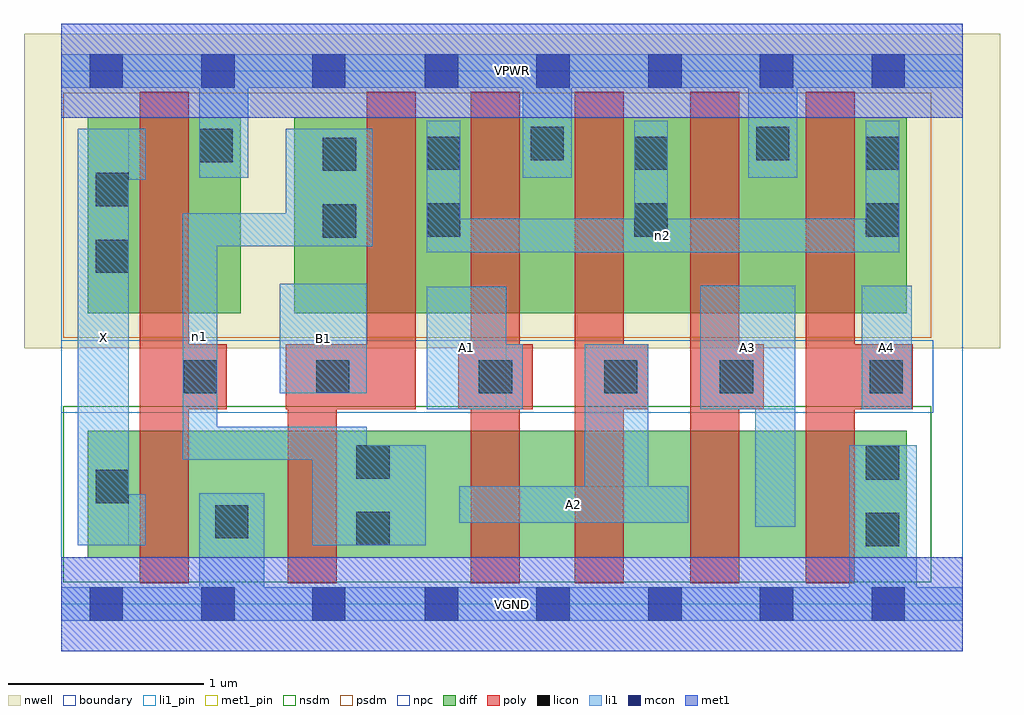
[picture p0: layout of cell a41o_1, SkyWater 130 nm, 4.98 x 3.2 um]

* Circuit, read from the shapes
.subckt a41o_1 A1 A2 A3 A4 B1 VGND VPWR X n1 n2
XM1 VGND n1 X VSUBS sky130_fd_pr__nfet_01v8 w=0.65 l=0.25
XM2 n1 B1 VGND VSUBS sky130_fd_pr__nfet_01v8 w=0.65 l=0.25
XM3 n3 A1 n1 VSUBS sky130_fd_pr__nfet_01v8 w=0.65 l=0.25
XM4 n4 A2 n3 VSUBS sky130_fd_pr__nfet_01v8 w=0.65 l=0.25
XM5 n5 A3 n4 VSUBS sky130_fd_pr__nfet_01v8 w=0.65 l=0.25
XM6 VGND A4 n5 VSUBS sky130_fd_pr__nfet_01v8 w=0.65 l=0.25
XM7 VPWR n1 X n6 sky130_fd_pr__pfet_01v8 w=1 l=0.25
XM8 n2 B1 n1 n6 sky130_fd_pr__pfet_01v8 w=1 l=0.25
XM9 VPWR A1 n2 n6 sky130_fd_pr__pfet_01v8 w=1 l=0.25
XM10 n2 A2 VPWR n6 sky130_fd_pr__pfet_01v8 w=1 l=0.25
XM11 VPWR A3 n2 n6 sky130_fd_pr__pfet_01v8 w=1 l=0.25
XM12 n2 A4 VPWR n6 sky130_fd_pr__pfet_01v8 w=1 l=0.25
.ends

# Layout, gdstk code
import gdstk
lib = gdstk.Library(unit=1e-6, precision=1e-09)
def R(c, l, rs):  # rectangles x0, y0, x1, y1
    for r in rs: c.add(gdstk.rectangle(r[:2], r[2:], *l))
def A(c, l, x, y, w, h, nx, ny, dx, dy):  # array of equal rectangles
    R(c, l, [(x+i*dx, y+j*dy, x+i*dx+w, y+j*dy+h) for i in range(nx) for j in range(ny)])
nwell = (64, 20)
diff = (65, 20)
poly = (66, 20)
licon = (66, 44)
li1_pin = (67, 16)
li1 = (67, 20)
mcon = (67, 44)
met1_pin = (68, 16)
met1 = (68, 20)
nsdm = (93, 44)
psdm = (94, 20)
npc = (95, 20)
boundary = (235, 4)

a41o_1 = lib.new_cell('a41o_1')
R(a41o_1, nwell, [(-0.19,1.305,4.79,2.91), (0,1.305,4.6,2.91)])
R(a41o_1, diff, [(0.135,0.235,4.315,0.885), (0.135,1.485,0.915,2.485), (1.19,1.485,4.315,2.485)])
A(a41o_1, poly, 2.62, 0.105, 0.25, 2.51, 3, 1, 0.59, 0)
R(a41o_1, poly, [(0.4,0.105,0.65,2.615), (1.155,0.105,1.405,1.325), (2.09,0.105,2.34,2.615), (0.4,0.995,0.845,1.325), (1.145,0.995,1.81,1.325), (1.56,0.995,1.81,2.615), (2.025,0.995,2.405,1.325), (2.62,0.995,2.995,1.325), (3.21,0.995,3.585,1.325), (3.8,0.995,4.345,1.325)])
R(a41o_1, licon, [(4.105,0.295,4.275,0.465), (1.505,0.3,1.675,0.47), (0.785,0.335,0.955,0.505), (0.175,0.515,0.345,0.685), (4.105,0.635,4.275,0.805), (1.505,0.64,1.675,0.81), (0.625,1.075,0.795,1.245), (1.3,1.075,1.47,1.245), (2.13,1.075,2.3,1.245), (2.77,1.075,2.94,1.245), (3.36,1.075,3.53,1.245), (4.125,1.075,4.295,1.245), (0.175,1.69,0.345,1.86), (1.335,1.87,1.505,2.04), (1.865,1.875,2.035,2.045), (2.925,1.875,3.095,2.045), (4.105,1.875,4.275,2.045), (0.175,2.03,0.345,2.2), (1.335,2.21,1.505,2.38), (1.865,2.215,2.035,2.385), (2.925,2.215,3.095,2.385), (4.105,2.215,4.275,2.385), (0.705,2.255,0.875,2.425), (2.395,2.265,2.565,2.435), (3.545,2.265,3.715,2.435)])
R(a41o_1, li1_pin, [(0.085,0.3,0.345,2.425), (2.03,0.415,3.2,0.6), (1.865,0.995,2.27,1.62), (3.26,0.995,3.745,1.625), (4.085,0.995,4.34,1.625), (1.115,1.075,1.56,1.635)])
R(a41o_1, li1, [(0,-0.085,4.6,0.085), (0.705,-0.085,1.035,0.565), (4.02,-0.085,4.365,0.81), (0.085,0.3,0.345,2.425), (0.085,0.3,0.43,0.56), (1.28,0.3,1.86,0.81), (3.54,0.395,3.745,1.625), (2.03,0.415,3.2,0.6), (2.67,0.415,2.995,1.325), (0.62,0.735,0.795,1.995), (0.62,0.735,1.56,0.905), (1.865,0.995,2.27,1.62), (1.865,0.995,2.355,1.325), (3.26,0.995,3.745,1.625), (4.085,0.995,4.34,1.625), (1.115,1.075,1.56,1.635), (1.865,1.795,4.275,1.965), (1.865,1.795,2.035,2.465), (2.925,1.795,3.095,2.465), (4.105,1.795,4.275,2.465), (0.62,1.825,1.59,1.995), (1.145,1.825,1.59,2.425), (0.085,2.165,0.43,2.425), (0.705,2.175,0.955,2.805), (2.355,2.175,2.605,2.805), (3.505,2.175,3.755,2.805), (0,2.635,4.6,2.805)])
A(a41o_1, mcon, 1.855, -0.085, 0.17, 0.17, 5, 2, 0.57, 2.72)
R(a41o_1, mcon, [(0.145,-0.085,0.315,0.085), (0.715,-0.085,0.885,0.085), (1.28,-0.085,1.45,0.085), (0.145,2.635,0.315,2.805), (0.715,2.635,0.885,2.805), (1.28,2.635,1.45,2.805)])
R(a41o_1, met1_pin, [(0,-0.24,4.6,0.24), (0,2.48,4.6,2.96)])
R(a41o_1, met1, [(0,-0.24,4.6,0.24), (0,2.48,4.6,2.96)])
R(a41o_1, nsdm, [(0.01,0.11,4.44,1.01)])
R(a41o_1, psdm, [(0.01,1.36,4.44,2.61)])
R(a41o_1, npc, [(0,0.975,4.45,1.345)])
R(a41o_1, boundary, [(0,0,4.6,2.72)])
a41o_1.add(gdstk.Label('A1', (2.067,1.307), layer=67, texttype=5))
a41o_1.add(gdstk.Label('A2', (2.615,0.507), layer=67, texttype=5))
a41o_1.add(gdstk.Label('A3', (3.502,1.31), layer=67, texttype=5))
a41o_1.add(gdstk.Label('A4', (4.212,1.31), layer=67, texttype=5))
a41o_1.add(gdstk.Label('B1', (1.337,1.355), layer=67, texttype=5))
a41o_1.add(gdstk.Label('X', (0.215,1.362), layer=67, texttype=5))
a41o_1.add(gdstk.Label('n1', (0.707,1.365), layer=67, texttype=5))
a41o_1.add(gdstk.Label('n2', (3.07,1.88), layer=67, texttype=5))
a41o_1.add(gdstk.Label('VPWR', (2.3,2.72), layer=68, texttype=5))
a41o_1.add(gdstk.Label('VGND', (2.3,0), layer=68, texttype=5))
a41o_1.add(gdstk.Label('A1', (2.067,1.307), layer=67, texttype=16))
a41o_1.add(gdstk.Label('A2', (2.615,0.507), layer=67, texttype=16))
a41o_1.add(gdstk.Label('A3', (3.502,1.31), layer=67, texttype=16))
a41o_1.add(gdstk.Label('A4', (4.212,1.31), layer=67, texttype=16))
a41o_1.add(gdstk.Label('B1', (1.337,1.355), layer=67, texttype=16))
a41o_1.add(gdstk.Label('X', (0.215,1.362), layer=67, texttype=16))
a41o_1.add(gdstk.Label('VPWR', (2.3,2.72), layer=68, texttype=16))
a41o_1.add(gdstk.Label('VGND', (2.3,0), layer=68, texttype=16))

lib.write_gds('a41o_1.gds')
